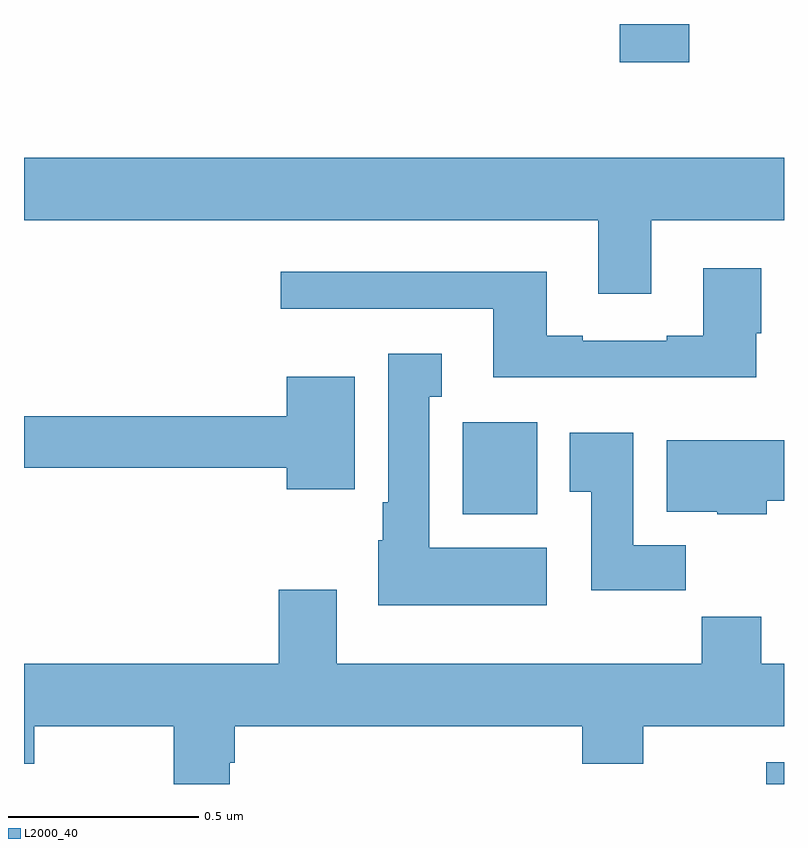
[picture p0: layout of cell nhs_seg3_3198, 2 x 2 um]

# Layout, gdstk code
import gdstk
lib = gdstk.Library(unit=1e-6, precision=1e-09)
def R(c, l, rs):  # rectangles x0, y0, x1, y1
    for r in rs: c.add(gdstk.rectangle(r[:2], r[2:], *l))
def P(c, l, *ps):  # polygons
    for p in ps: c.add(gdstk.Polygon(p, *l))
L2000_40 = (2000, 40)

nhs_seg3_3198 = lib.new_cell('nhs_seg3_3198')
R(nhs_seg3_3198, L2000_40, [(151.953,731.4,152,731.457), (151.154,732.11,151.351,732.352), (151.568,733.299,151.751,733.4)])
P(nhs_seg3_3198, L2000_40, [(151.651,732.884),(152,732.884),(152,733.048),(150,733.048),(150,732.884),(151.511,732.884),(151.511,732.69),(151.651,732.69)],
  [(151.927,732.586),(151.94,732.586),(151.94,732.757),(151.787,732.757),(151.787,732.58),(151.691,732.58),(151.691,732.567),(151.471,732.567),(151.471,732.58),(151.375,732.58),(151.375,732.748),(150.675,732.748),(150.675,732.651),(151.235,732.651),(151.235,732.47),(151.927,732.47)],
  [(151.375,732.022),(151.066,732.022),(151.066,732.419),(151.099,732.419),(151.099,732.532),(150.959,732.532),(150.959,732.142),(150.944,732.142),(150.944,732.042),(150.932,732.042),(150.932,731.87),(151.375,731.87)],
  [(150.871,732.472),(150.692,732.472),(150.692,732.368),(150,732.368),(150,732.232),(150.692,732.232),(150.692,732.176),(150.871,732.176)],
  [(151.742,732.028),(151.603,732.028),(151.603,732.325),(151.436,732.325),(151.436,732.169),(151.493,732.169),(151.493,731.91),(151.742,731.91)],
  [(151.955,732.146),(152,732.146),(152,732.304),(151.691,732.304),(151.691,732.116),(151.824,732.116),(151.824,732.11),(151.955,732.11)],
  [(150.541,731.456),(150.554,731.456),(150.554,731.552),(151.469,731.552),(151.469,731.453),(151.629,731.453),(151.629,731.552),(152,731.552),(152,731.716),(151.94,731.716),(151.94,731.84),(151.783,731.84),(151.783,731.716),(150.823,731.716),(150.823,731.911),(150.671,731.911),(150.671,731.716),(150,731.716),(150,731.453),(150.027,731.453),(150.027,731.552),(150.394,731.552),(150.394,731.4),(150.541,731.4)])

lib.write_gds('nhs_seg3_3198.gds')
